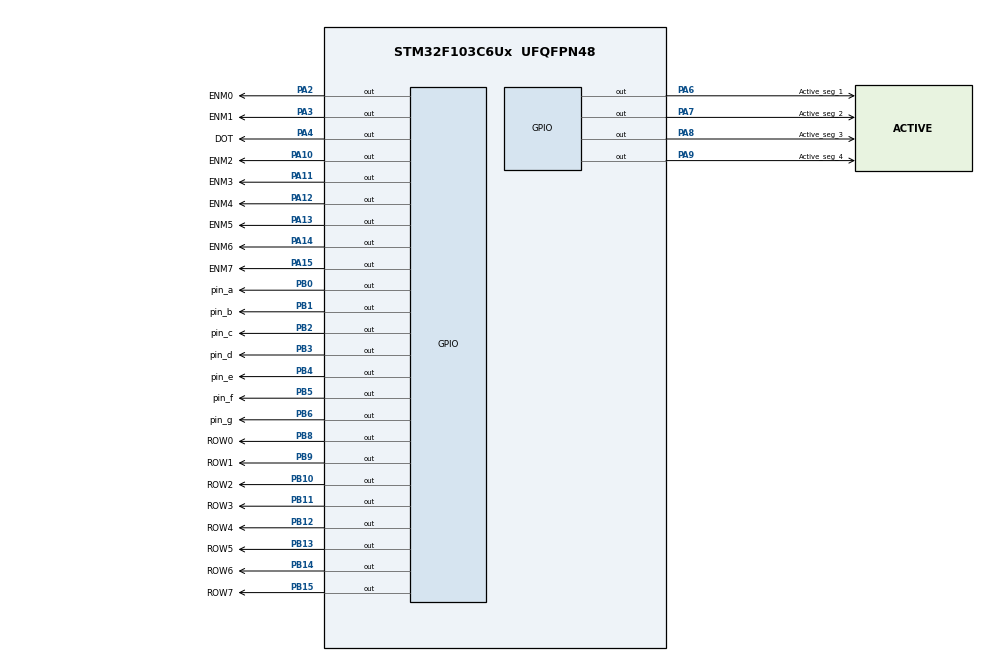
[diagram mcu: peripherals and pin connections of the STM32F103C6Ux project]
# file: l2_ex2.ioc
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Mcu.Family=STM32F1
Mcu.Name=STM32F103C6Ux
Mcu.Package=UFQFPN48
NVIC.PriorityGroup=NVIC_PRIORITYGROUP_4
NVIC.TIM2_IRQn=true\:0\:0\:false\:false\:true\:true\:true
PA10.GPIO_Label=ENM2
PA10.Signal=GPIO_Output
PA11.GPIO_Label=ENM3
PA11.Signal=GPIO_Output
PA12.GPIO_Label=ENM4
PA12.Signal=GPIO_Output
PA13.GPIO_Label=ENM5
PA13.Signal=GPIO_Output
PA14.GPIO_Label=ENM6
PA14.Signal=GPIO_Output
PA15.GPIO_Label=ENM7
PA15.Signal=GPIO_Output
PA2.GPIO_Label=ENM0
PA2.Signal=GPIO_Output
PA3.GPIO_Label=ENM1
PA3.Signal=GPIO_Output
PA4.GPIO_Label=DOT
PA4.PinState=GPIO_PIN_SET
PA4.Signal=GPIO_Output
PA6.GPIO_Label=Active_seg_1
PA6.PinState=GPIO_PIN_SET
PA6.Signal=GPIO_Output
PA7.GPIO_Label=Active_seg_2
PA7.PinState=GPIO_PIN_SET
PA7.Signal=GPIO_Output
PA8.GPIO_Label=Active_seg_3
PA8.PinState=GPIO_PIN_SET
PA8.Signal=GPIO_Output
PA9.GPIO_Label=Active_seg_4
PA9.PinState=GPIO_PIN_SET
PA9.Signal=GPIO_Output
PB0.GPIO_Label=pin_a
PB0.PinState=GPIO_PIN_SET
PB0.Signal=GPIO_Output
PB1.GPIO_Label=pin_b
PB1.PinState=GPIO_PIN_SET
PB1.Signal=GPIO_Output
PB10.GPIO_Label=ROW2
PB10.Signal=GPIO_Output
PB11.GPIO_Label=ROW3
PB11.Signal=GPIO_Output
PB12.GPIO_Label=ROW4
PB12.Signal=GPIO_Output
PB13.GPIO_Label=ROW5
PB13.Signal=GPIO_Output
PB14.GPIO_Label=ROW6
PB14.Signal=GPIO_Output
PB15.GPIO_Label=ROW7
PB15.Signal=GPIO_Output
PB2.GPIO_Label=pin_c
PB2.PinState=GPIO_PIN_SET
PB2.Signal=GPIO_Output
PB3.GPIO_Label=pin_d
PB3.PinState=GPIO_PIN_SET
PB3.Signal=GPIO_Output
PB4.GPIO_Label=pin_e
PB4.PinState=GPIO_PIN_SET
PB4.Signal=GPIO_Output
PB5.GPIO_Label=pin_f
PB5.PinState=GPIO_PIN_SET
PB5.Signal=GPIO_Output
PB6.GPIO_Label=pin_g
PB6.PinState=GPIO_PIN_SET
PB6.Signal=GPIO_Output
PB8.GPIO_Label=ROW0
PB8.Signal=GPIO_Output
PB9.GPIO_Label=ROW1
PB9.Signal=GPIO_Output
ProjectManager.HeapSize=0x200
ProjectManager.StackSize=0x400
ProjectManager.TargetToolchain=STM32CubeIDE
RCC.APB1Freq_Value=8000000
RCC.APB2Freq_Value=8000000
TIM2.Period=9
TIM2.Prescaler=7999
VP_SYS_VS_ND.Mode=No_Debug
VP_TIM2_VS_ClockSourceINT.Mode=Internal
board=custom

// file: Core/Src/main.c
/* USER CODE BEGIN Header */
/**
  ******************************************************************************
  * @file           : main.c
  * @brief          : Main program body
  ******************************************************************************
  * @attention
  *
  * <h2><center>&copy; Copyright (c) 2025 STMicroelectronics.
  * All rights reserved.</center></h2>
  *
  * This software component is licensed by ST under BSD 3-Clause license,
  * the "License"; You may not use this file except in compliance with the
  * License. You may obtain a copy of the License at:
  *                        opensource.org/licenses/BSD-3-Clause
  *
  ******************************************************************************
  */
/* USER CODE END Header */
#include "main.h"

/* USER CODE BEGIN Includes */
#include "timer.h"
/* USER CODE END Includes */

TIM_HandleTypeDef htim2;

void SystemClock_Config(void);
static void MX_GPIO_Init(void);
static void MX_TIM2_Init(void);

/* USER CODE BEGIN 0 */

/// BEGIN EX9
const int MAX_LED_MATRIX = 8;
 int index_led_matrix = 0;
 uint8_t matrix_buffer[8] = {0x18, 0x3C, 0x66, 0x66, 0x7E, 0x7E, 0x66, 0x66};

 uint8_t letterA[8] = {0x18, 0x3C, 0x66, 0x66, 0x7E, 0x7E, 0x66, 0x66};

 GPIO_TypeDef* ROW_GPIO[8] = {ROW0_GPIO_Port,ROW1_GPIO_Port,
 		  ROW2_GPIO_Port,ROW3_GPIO_Port,ROW4_GPIO_Port,
 		  ROW5_GPIO_Port,ROW6_GPIO_Port,ROW7_GPIO_Port};

  int ROW_pin[8] = {ROW0_Pin,ROW1_Pin,ROW2_Pin,ROW3_Pin,
 		  ROW4_Pin,ROW5_Pin,ROW6_Pin,ROW7_Pin};

  GPIO_TypeDef* COL_GPIO[8] = {ENM0_GPIO_Port,ENM1_GPIO_Port,
  		  ENM2_GPIO_Port,ENM3_GPIO_Port,ENM4_GPIO_Port,
  		  ENM5_GPIO_Port,ENM6_GPIO_Port,ENM7_GPIO_Port};

   int COL_pin[8] = {ENM0_Pin,ENM1_Pin,ENM2_Pin,ENM3_Pin,
  		  ENM4_Pin,ENM5_Pin,ENM6_Pin,ENM7_Pin};
void turnoffall()
{
	for(int i=0;i<8;i++)
	{
		HAL_GPIO_WritePin(ROW_GPIO[i], ROW_pin[i], SET);
		HAL_GPIO_WritePin(COL_GPIO[i], COL_pin[i], SET);
	}
}
void turnon(uint8_t num, int row)
{
	if(row!=0)
	{
		HAL_GPIO_WritePin(ROW_GPIO[row-1], ROW_pin[row-1], SET);
	}
	else
	{
		HAL_GPIO_WritePin(ROW_GPIO[7], ROW_pin[7], SET);
	}
	for(int i=0;i<8;i++)
	{
		int bit_value = (num>>i) & 1;
		if(bit_value==1)
		{
			HAL_GPIO_WritePin(COL_GPIO[i], COL_pin[i], RESET);
		}
		else
		{
			HAL_GPIO_WritePin(COL_GPIO[i], COL_pin[i], SET);
		}
	}
	HAL_GPIO_WritePin(ROW_GPIO[row], ROW_pin[row], RESET);
}

				void turnleft(int stage,int shift)
				{
					if(stage == 0)
					{
						for(int i=0;i<8;i++)
						{
							matrix_buffer[i] = matrix_buffer[i]>>1;
						}
					}
					else if(stage == 1)
					{
						for(int i=0;i<8;i++)
						{
							matrix_buffer[i] = letterA[i] << shift;
						}
					}
				}

 void updateLEDMatrix(int index){
	 switch (index){
	 case 0:
		 turnon(matrix_buffer[0], 0);
	 break;
	 case 1:
		 turnon(matrix_buffer[1], 1);
	 break;
	 case 2:
		 turnon(matrix_buffer[2], 2);
	 break;
	 case 3:
		 turnon(matrix_buffer[3], 3);
	 break;
	 case 4:
		 turnon(matrix_buffer[4], 4);
	 break;
	 case 5:
		 turnon(matrix_buffer[5], 5);
	 break;
	 case 6:
		 turnon(matrix_buffer[6], 6);
	 break;
	 case 7:
		 turnon(matrix_buffer[7], 7);
	 break;
	 default:
		 turnoffall();
	 break;
	 }
 }

/// END EX9
GPIO_TypeDef* SEG_GPIO[7] = {pin_a_GPIO_Port,pin_b_GPIO_Port,
		  pin_c_GPIO_Port,pin_d_GPIO_Port,pin_e_GPIO_Port,
		  pin_f_GPIO_Port,pin_g_GPIO_Port};

 int SEG_pin[7] = {pin_a_Pin,pin_b_Pin,pin_c_Pin,
		  pin_d_Pin,pin_e_Pin,pin_f_Pin,pin_g_Pin};
 int stage=0; // EX 4
 //int cycle = 100; // EX2 & 3
//int cycle = 50; // EX4
int cycle = 5; //EX5  (for fast, 1 second = 500ms -> cycle = 25 (5*25 = 125 (=1/4 seond) ) )

 void display7SEG(int counter, GPIO_TypeDef* pin[7], int p[7])
 {
 	  switch (counter){
 	  case 0:
 		  HAL_GPIO_WritePin(pin[0], p[0], RESET);
 		  HAL_GPIO_WritePin(pin[1], p[1], RESET);
 		  HAL_GPIO_WritePin(pin[2], p[2], RESET);
 		  HAL_GPIO_WritePin(pin[3], p[3], RESET);
 		  HAL_GPIO_WritePin(pin[4], p[4], RESET);
 		  HAL_GPIO_WritePin(pin[5], p[5], RESET);
 		  HAL_GPIO_WritePin(pin[6], p[6], SET);
 		  break;
 	  case 1:
 		  HAL_GPIO_WritePin(pin[0], p[0], SET);
 		  HAL_GPIO_WritePin(pin[1], p[1], RESET);
 		  HAL_GPIO_WritePin(pin[2], p[2], RESET);
 		  HAL_GPIO_WritePin(pin[3], p[3], SET);
 		  HAL_GPIO_WritePin(pin[4], p[4], SET);
 		  HAL_GPIO_WritePin(pin[5], p[5], SET);
 		  HAL_GPIO_WritePin(pin[6], p[6], SET);
 		  break;
 	  case 2:
 		  HAL_GPIO_WritePin(pin[0], p[0], RESET);
 		  HAL_GPIO_WritePin(pin[1], p[1], RESET);
 		  HAL_GPIO_WritePin(pin[2], p[2], SET);
 		  HAL_GPIO_WritePin(pin[3], p[3], RESET);
 		  HAL_GPIO_WritePin(pin[4], p[4], RESET);
 		  HAL_GPIO_WritePin(pin[5], p[5], SET);
 		  HAL_GPIO_WritePin(pin[6], p[6], RESET);
 		  break;
 	  case 3:
 		  HAL_GPIO_WritePin(pin[0], p[0], RESET);
 		  HAL_GPIO_WritePin(pin[1], p[1], RESET);
 		  HAL_GPIO_WritePin(pin[2], p[2], RESET);
 		  HAL_GPIO_WritePin(pin[3], p[3], RESET);
 		  HAL_GPIO_WritePin(pin[4], p[4], SET);
 		  HAL_GPIO_WritePin(pin[5], p[5], SET);
 		  HAL_GPIO_WritePin(pin[6], p[6], RESET);
 		  break;
 	  case 4:
 		  HAL_GPIO_WritePin(pin[0], p[0], SET);
 		  HAL_GPIO_WritePin(pin[1], p[1], RESET);
 		  HAL_GPIO_WritePin(pin[2], p[2], RESET);
 		  HAL_GPIO_WritePin(pin[3], p[3], SET);
 		  HAL_GPIO_WritePin(pin[4], p[4], SET);
 		  HAL_GPIO_WritePin(pin[5], p[5], RESET);
 		  HAL_GPIO_WritePin(pin[6], p[6], RESET);
 		  break;
 	  case 5:
 		  HAL_GPIO_WritePin(pin[0], p[0], RESET);
 		  HAL_GPIO_WritePin(pin[1], p[1], SET);
 		  HAL_GPIO_WritePin(pin[2], p[2], RESET);
 		  HAL_GPIO_WritePin(pin[3], p[3], RESET);
 		  HAL_GPIO_WritePin(pin[4], p[4], SET);
 		  HAL_GPIO_WritePin(pin[5], p[5], RESET);
 		  HAL_GPIO_WritePin(pin[6], p[6], RESET);
 		  break;
 	  case 6:
 		  HAL_GPIO_WritePin(pin[0], p[0], RESET);
 		  HAL_GPIO_WritePin(pin[1], p[1], SET);
 		  HAL_GPIO_WritePin(pin[2], p[2], RESET);
 		  HAL_GPIO_WritePin(pin[3], p[3], RESET);
 		  HAL_GPIO_WritePin(pin[4], p[4], RESET);
 		  HAL_GPIO_WritePin(pin[5], p[5], RESET);
 		  HAL_GPIO_WritePin(pin[6], p[6], RESET);
 		  break;
 	  case 7:
 		  HAL_GPIO_WritePin(pin[0], p[0], RESET);
 		  HAL_GPIO_WritePin(pin[1], p[1], RESET);
 		  HAL_GPIO_WritePin(pin[2], p[2], RESET);
 		  HAL_GPIO_WritePin(pin[3], p[3], SET);
 		  HAL_GPIO_WritePin(pin[4], p[4], SET);
 		  HAL_GPIO_WritePin(pin[5], p[5], SET);
 		  HAL_GPIO_WritePin(pin[6], p[6], SET);
 		  break;
 	  case 8:
 		  HAL_GPIO_WritePin(pin[0], p[0], RESET);
 		  HAL_GPIO_WritePin(pin[1], p[1], RESET);
 		  HAL_GPIO_WritePin(pin[2], p[2], RESET);
 		  HAL_GPIO_WritePin(pin[3], p[3], RESET);
 		  HAL_GPIO_WritePin(pin[4], p[4], RESET);
 		  HAL_GPIO_WritePin(pin[5], p[5], RESET);
 		  HAL_GPIO_WritePin(pin[6], p[6], RESET);
 		  break;
 	  case 9:
 		  HAL_GPIO_WritePin(pin[0], p[0], RESET);
 		  HAL_GPIO_WritePin(pin[1], p[1], RESET);
 		  HAL_GPIO_WritePin(pin[2], p[2], RESET);
 		  HAL_GPIO_WritePin(pin[3], p[3], RESET);
 		  HAL_GPIO_WritePin(pin[4], p[4], SET);
 		  HAL_GPIO_WritePin(pin[5], p[5], RESET);
 		  HAL_GPIO_WritePin(pin[6], p[6], RESET);
 		  break;
 	  default:
 		  HAL_GPIO_WritePin(pin[0], p[0], SET);
 		  HAL_GPIO_WritePin(pin[1], p[1], SET);
 		  HAL_GPIO_WritePin(pin[2], p[2], SET);
 		  HAL_GPIO_WritePin(pin[3], p[3], SET);
 		  HAL_GPIO_WritePin(pin[4], p[4], SET);
 		  HAL_GPIO_WritePin(pin[5], p[5], SET);
 		  HAL_GPIO_WritePin(pin[6], p[6], SET);
 		  break;
 	  }
 }

 int led_buffer[4] = {1,2,3,0};

 void update7SEG(int index)
 {
	 display7SEG(10, SEG_GPIO, SEG_pin);
	  switch(index) {
	  		  case 0:
	  			  HAL_GPIO_WritePin(Active_seg_1_GPIO_Port, Active_seg_1_Pin, RESET);
	  			  HAL_GPIO_WritePin(Active_seg_2_GPIO_Port, Active_seg_2_Pin, SET);
	  			  HAL_GPIO_WritePin(Active_seg_3_GPIO_Port, Active_seg_3_Pin, SET);
	  			  HAL_GPIO_WritePin(Active_seg_4_GPIO_Port, Active_seg_4_Pin, SET);
	  			  break;
	  		  case 1:
	  			  HAL_GPIO_WritePin(Active_seg_1_GPIO_Port, Active_seg_1_Pin, SET);
	  			  HAL_GPIO_WritePin(Active_seg_2_GPIO_Port, Active_seg_2_Pin, RESET);
	  			  HAL_GPIO_WritePin(Active_seg_3_GPIO_Port, Active_seg_3_Pin, SET);
	  			  HAL_GPIO_WritePin(Active_seg_4_GPIO_Port, Active_seg_4_Pin, SET);
	  			  break;
	  		  case 2:
	  			  HAL_GPIO_WritePin(Active_seg_1_GPIO_Port, Active_seg_1_Pin, SET);
	  			  HAL_GPIO_WritePin(Active_seg_2_GPIO_Port, Active_seg_2_Pin, SET);
	  			  HAL_GPIO_WritePin(Active_seg_3_GPIO_Port, Active_seg_3_Pin, RESET);
	  			  HAL_GPIO_WritePin(Active_seg_4_GPIO_Port, Active_seg_4_Pin, SET);
	  			  break;
	  		  case 3:
	  			  HAL_GPIO_WritePin(Active_seg_1_GPIO_Port, Active_seg_1_Pin, SET);
	  			  HAL_GPIO_WritePin(Active_seg_2_GPIO_Port, Active_seg_2_Pin, SET);
	  			  HAL_GPIO_WritePin(Active_seg_3_GPIO_Port, Active_seg_3_Pin, SET);
	  			  HAL_GPIO_WritePin(Active_seg_4_GPIO_Port, Active_seg_4_Pin, RESET);
	  			  break;
	  		  default:
	  			  break;
	  		  }
	  display7SEG(led_buffer[index], SEG_GPIO, SEG_pin);
 }

 // BEGIN EX6 ----------
  int timer0_counter = 0;
  int timer0_flag = 0;
  int TIMER_CYCLE = 10;
  void setTimer0(int duration){
  timer0_counter = duration /TIMER_CYCLE;
  timer0_flag = 0;
  }
  void timer_run(){
  if(timer0_counter > 0){
  timer0_counter--;
  if(timer0_counter <= 0) timer0_flag = 1;
  }
  }
 // END EX6 ------------
/* USER CODE END 0 */

int main(void)
{

  /* MCU Configuration--------------------------------------------------------*/

  /* Reset of all peripherals, Initializes the Flash interface and the Systick. */
  HAL_Init();

  /* Configure the system clock */
  SystemClock_Config();

  /* Initialize all configured peripherals */
  MX_GPIO_Init();
  MX_TIM2_Init();
  /* USER CODE BEGIN 2 */
  HAL_TIM_Base_Start_IT(&htim2);
  /* USER CODE END 2 */

  /* Infinite loop */
  /* USER CODE BEGIN WHILE */

  int hour = 15 , minute = 8 , second = 55;

  //begin setup EX9
  int count=0;
  turnoffall();
  int counttime = 16;
  int s=0;
  //end setup EX9

  void updateClockBuffer()
  {
	  led_buffer[0] = hour/10;
	  led_buffer[1] = hour%10;
	  led_buffer[2] = minute/10;
	  led_buffer[3] = minute%10;
  }
  //settimer(cycle);
  //setTimer0(cycle*10); //EX6
  setTimer0(cycle*10);
  int counterflag = 0;
  updateClockBuffer();
  while (1)
  {
	  if(timer0_flag == 1)
	  {
		  HAL_GPIO_TogglePin(DOT_GPIO_Port, DOT_Pin);
		  counterflag++;
		  setTimer0(cycle*10);
		  //setTimer0(cycle);
		update7SEG(stage);
		stage+=1;
		if(stage > 3) stage = 0;
		//begin ex9
		  //setTimer0(cycle);
		  updateLEDMatrix(count);
		  count++;
		  if(count>=8) count=0;
		  counttime--;
		//end ex9
	  }
	  if(counterflag == 1000/(10*cycle))
	  {
		  counterflag = 0;
		  second++;
		  if(second>=60)
		  {
			  second=0;
			  minute++;
		  }
		  if(minute>=60)
		  {
			  minute=0;
			  hour++;
		  }
		  if(hour>=24)
		  {
			  hour=0;
		  }
		  updateClockBuffer();
	  }

	  //begin EX10
	  if(counttime<=0)
	  	  {
	  		  counttime = 16;
	  		  if(s<=7) {turnleft(0,0);s++;}
	  		  else
	  		  {
	  			  turnleft(1,15-s);
	  			  s++;
	  			  if(s==16) s = 0;
	  		  }
	  	  }
	  //end EX10
	  // BEGIN EX5-----

//	  second++;
//	  if(second>=60)
//	  {
//		  second=0;
//		  minute++;
//	  }
//	  if(minute>=60)
//	  {
//		  minute=0;
//		  hour++;
//	  }
//	  if(hour>=24)
//	  {
//		  hour=0;
//	  }
//
//	  updateClockBuffer();
	  //HAL_Delay(1000);//EX5

	  // END EX5--------

    /* USER CODE END WHILE */

  }
}

void SystemClock_Config(void)
{
  RCC_OscInitTypeDef RCC_OscInitStruct = {0};
  RCC_ClkInitTypeDef RCC_ClkInitStruct = {0};

  /** Initializes the RCC Oscillators according to the specified parameters
  * in the RCC_OscInitTypeDef structure.
  */
  RCC_OscInitStruct.OscillatorType = RCC_OSCILLATORTYPE_HSI;
  RCC_OscInitStruct.HSIState = RCC_HSI_ON;
  RCC_OscInitStruct.HSICalibrationValue = RCC_HSICALIBRATION_DEFAULT;
  RCC_OscInitStruct.PLL.PLLState = RCC_PLL_NONE;
  if (HAL_RCC_OscConfig(&RCC_OscInitStruct) != HAL_OK)
  {
    Error_Handler();
  }
  /** Initializes the CPU, AHB and APB buses clocks
  */
  RCC_ClkInitStruct.ClockType = RCC_CLOCKTYPE_HCLK|RCC_CLOCKTYPE_SYSCLK
                              |RCC_CLOCKTYPE_PCLK1|RCC_CLOCKTYPE_PCLK2;
  RCC_ClkInitStruct.SYSCLKSource = RCC_SYSCLKSOURCE_HSI;
  RCC_ClkInitStruct.AHBCLKDivider = RCC_SYSCLK_DIV1;
  RCC_ClkInitStruct.APB1CLKDivider = RCC_HCLK_DIV1;
  RCC_ClkInitStruct.APB2CLKDivider = RCC_HCLK_DIV1;

  if (HAL_RCC_ClockConfig(&RCC_ClkInitStruct, FLASH_LATENCY_0) != HAL_OK)
  {
    Error_Handler();
  }
}

static void MX_TIM2_Init(void)
{

  TIM_ClockConfigTypeDef sClockSourceConfig = {0};
  TIM_MasterConfigTypeDef sMasterConfig = {0};

  htim2.Instance = TIM2;
  htim2.Init.Prescaler = 7999;
  htim2.Init.CounterMode = TIM_COUNTERMODE_UP;
  htim2.Init.Period = 9;
  htim2.Init.ClockDivision = TIM_CLOCKDIVISION_DIV1;
  htim2.Init.AutoReloadPreload = TIM_AUTORELOAD_PRELOAD_DISABLE;
  if (HAL_TIM_Base_Init(&htim2) != HAL_OK)
  {
    Error_Handler();
  }
  sClockSourceConfig.ClockSource = TIM_CLOCKSOURCE_INTERNAL;
  if (HAL_TIM_ConfigClockSource(&htim2, &sClockSourceConfig) != HAL_OK)
  {
    Error_Handler();
  }
  sMasterConfig.MasterOutputTrigger = TIM_TRGO_RESET;
  sMasterConfig.MasterSlaveMode = TIM_MASTERSLAVEMODE_DISABLE;
  if (HAL_TIMEx_MasterConfigSynchronization(&htim2, &sMasterConfig) != HAL_OK)
  {
    Error_Handler();
  }

}

static void MX_GPIO_Init(void)
{
  GPIO_InitTypeDef GPIO_InitStruct = {0};

  /* GPIO Ports Clock Enable */
  __HAL_RCC_GPIOA_CLK_ENABLE();
  __HAL_RCC_GPIOB_CLK_ENABLE();

  /*Configure GPIO pin Output Level */
  HAL_GPIO_WritePin(GPIOA, ENM0_Pin|ENM1_Pin|ENM2_Pin|ENM3_Pin
                          |ENM4_Pin|ENM5_Pin|ENM6_Pin|ENM7_Pin, GPIO_PIN_RESET);

  /*Configure GPIO pin Output Level */
  HAL_GPIO_WritePin(GPIOA, DOT_Pin|Active_seg_1_Pin|Active_seg_2_Pin|Active_seg_3_Pin
                          |Active_seg_4_Pin, GPIO_PIN_SET);

  /*Configure GPIO pin Output Level */
  HAL_GPIO_WritePin(GPIOB, pin_a_Pin|pin_b_Pin|pin_c_Pin|pin_d_Pin
                          |pin_e_Pin|pin_f_Pin|pin_g_Pin, GPIO_PIN_SET);

  /*Configure GPIO pin Output Level */
  HAL_GPIO_WritePin(GPIOB, ROW2_Pin|ROW3_Pin|ROW4_Pin|ROW5_Pin
                          |ROW6_Pin|ROW7_Pin|ROW0_Pin|ROW1_Pin, GPIO_PIN_RESET);

  /*Configure GPIO pins : ENM0_Pin ENM1_Pin DOT_Pin Active_seg_1_Pin
                           Active_seg_2_Pin Active_seg_3_Pin Active_seg_4_Pin ENM2_Pin
                           ENM3_Pin ENM4_Pin ENM5_Pin ENM6_Pin
                           ENM7_Pin */
  GPIO_InitStruct.Pin = ENM0_Pin|ENM1_Pin|DOT_Pin|Active_seg_1_Pin
                          |Active_seg_2_Pin|Active_seg_3_Pin|Active_seg_4_Pin|ENM2_Pin
                          |ENM3_Pin|ENM4_Pin|ENM5_Pin|ENM6_Pin
                          |ENM7_Pin;
  GPIO_InitStruct.Mode = GPIO_MODE_OUTPUT_PP;
  GPIO_InitStruct.Pull = GPIO_NOPULL;
  GPIO_InitStruct.Speed = GPIO_SPEED_FREQ_LOW;
  HAL_GPIO_Init(GPIOA, &GPIO_InitStruct);

  /*Configure GPIO pins : pin_a_Pin pin_b_Pin pin_c_Pin ROW2_Pin
                           ROW3_Pin ROW4_Pin ROW5_Pin ROW6_Pin
                           ROW7_Pin pin_d_Pin pin_e_Pin pin_f_Pin
                           pin_g_Pin ROW0_Pin ROW1_Pin */
  GPIO_InitStruct.Pin = pin_a_Pin|pin_b_Pin|pin_c_Pin|ROW2_Pin
                          |ROW3_Pin|ROW4_Pin|ROW5_Pin|ROW6_Pin
                          |ROW7_Pin|pin_d_Pin|pin_e_Pin|pin_f_Pin
                          |pin_g_Pin|ROW0_Pin|ROW1_Pin;
  GPIO_InitStruct.Mode = GPIO_MODE_OUTPUT_PP;
  GPIO_InitStruct.Pull = GPIO_NOPULL;
  GPIO_InitStruct.Speed = GPIO_SPEED_FREQ_LOW;
  HAL_GPIO_Init(GPIOB, &GPIO_InitStruct);

}

/* USER CODE BEGIN 4 */
// int counter = 50;  //EX2
// int index = 0; //EX2
int counterdot = 25;
void HAL_TIM_PeriodElapsedCallback(TIM_HandleTypeDef *htim)
{

	// BEGIN EX7---------
	timer_run();
	// END EX7-----------

	/*// BEGIN EX5
	runtime();
	counterdot--;
	if(counterdot<=0)
	{
		counterdot = cycle*4;
		HAL_GPIO_TogglePin(DOT_GPIO_Port, DOT_Pin);
	}

	  //-----BEGIN EX2,3,4-------

	  if(time_flag == 1)
	  {
		  settimer(cycle);
		  update7SEG(stage);
		  stage+=1;
		  if(stage>3) stage = 0;
	  }

	  //-----END EX2,3,4----
	  // END EX5
	  */
	// BEGIN EX6---------
	// EX6 use the function affect similarly to EX5
//	timer_run();
//	counterdot--;
//	if(counterdot<=0)
//	{
//		counterdot = cycle*4;
//		HAL_GPIO_TogglePin(DOT_GPIO_Port, DOT_Pin);
//	}
//
//	if(timer0_flag == 1)
//	{
//		setTimer0(250);
//		update7SEG(stage);
//		stage+=1;
//		if(stage > 3) stage = 0;
//	}
	// END EX6----------
	/*
	 counter--;
	 if(counter<=0)
	 {
	 	 counter = 50;
	 	 update7SEG(index);
	 	 index+=1;
	 	 if(index>3) index=0;
	 }
	 */
}
/* USER CODE END 4 */

void Error_Handler(void)
{
  __disable_irq();
  while (1)
  {
  }
}

/************************ (C) COPYRIGHT STMicroelectronics *****END OF FILE****/
